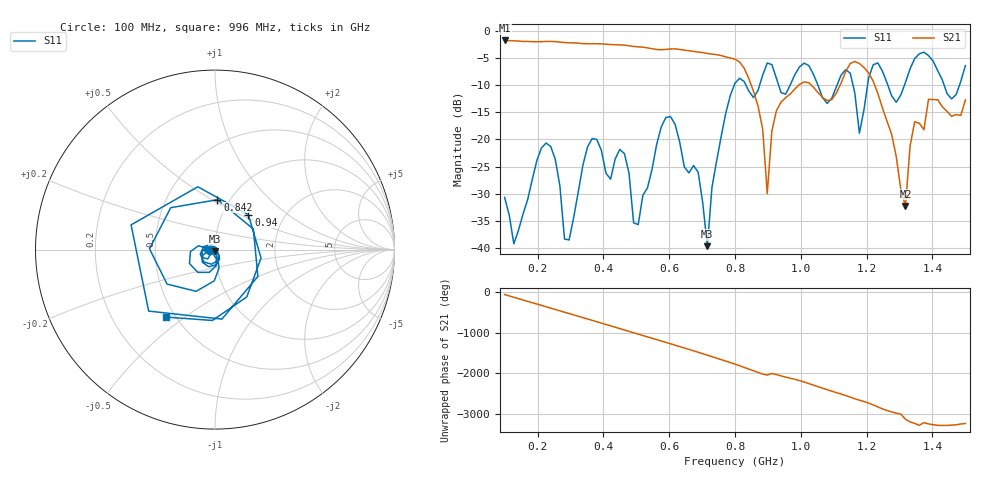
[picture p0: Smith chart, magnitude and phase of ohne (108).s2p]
! NanoVNA-App
! Date: 2025-09-25 17:39:08
! Start: 100MHz Stop: 1,5GHz Points: 101
! S-Parameter data: F S11 S21 S12 S22
# Hz S RI R 50
!  Frequency  S11_Real  S11_Imag  S21_Real  S21_Imag  S12_Real  S12_Imag  S22_Real  S22_Imag
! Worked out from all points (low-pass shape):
!   101 points, 100 MHz to 1.5 GHz, reference 50 ohm
!   highest |S21| = -1.80 dB at 100 MHz (marker M1); lowest = -32.3 dB at 1.318 GHz (marker M2)
!   |S21| within 3 dB of the highest: start of sweep to 770.7 MHz
!   lowest |S11| = -39.7 dB at 716 MHz (marker M3), VSWR 1.02, Z = 49.9 - j1.03 ohm
!   |S11| at or under -10 dB: start of sweep to 797.8 MHz; 833 MHz to 875 MHz (41.95 MHz wide, 4.91 % of centre); 1.052 GHz to 1.11 GHz (58.36 MHz wide, 5.4 % of centre)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
!   S12 and S22 are empty: the file has one direction only
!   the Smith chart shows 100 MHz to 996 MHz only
!   S11 on the Smith chart (normalised r, x): 100 MHz: 0.94, -0.01; 842 MHz: 0.88, +0.53; 940 MHz: 1.32, +0.56; 996 MHz: 0.44, -0.43
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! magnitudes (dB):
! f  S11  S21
! 100 MHz  -30.7  -1.8
! 128 MHz  -39.2  -1.9
! 226 MHz  -20.7  -2.0
! 296 MHz  -38.5  -2.2
! 338 MHz  -24.7  -2.4
! 464 MHz  -22.6  -2.7
! 506 MHz  -35.7  -3.0
! 576 MHz  -17.7  -3.5
! 688 MHz  -26.0  -3.9
! 716 MHz  -39.7  -4.2
! 800 MHz  -9.7  -5.2
! 842 MHz  -11.1  -8.8
! 898 MHz  -6.0  -30.0
! 940 MHz  -11.4  -13.1
! 996 MHz  -6.7  -9.9
! 1.038 GHz  -8.0  -10.4
! 1.178 GHz  -18.9  -6.1
! 1.22 GHz  -6.3  -9.3
! 1.276 GHz  -12.0  -19.1
! 1.318 GHz  -9.5  -32.3
! 1.346 GHz  -5.1  -16.8
! 1.5 GHz  -6.4  -12.7
